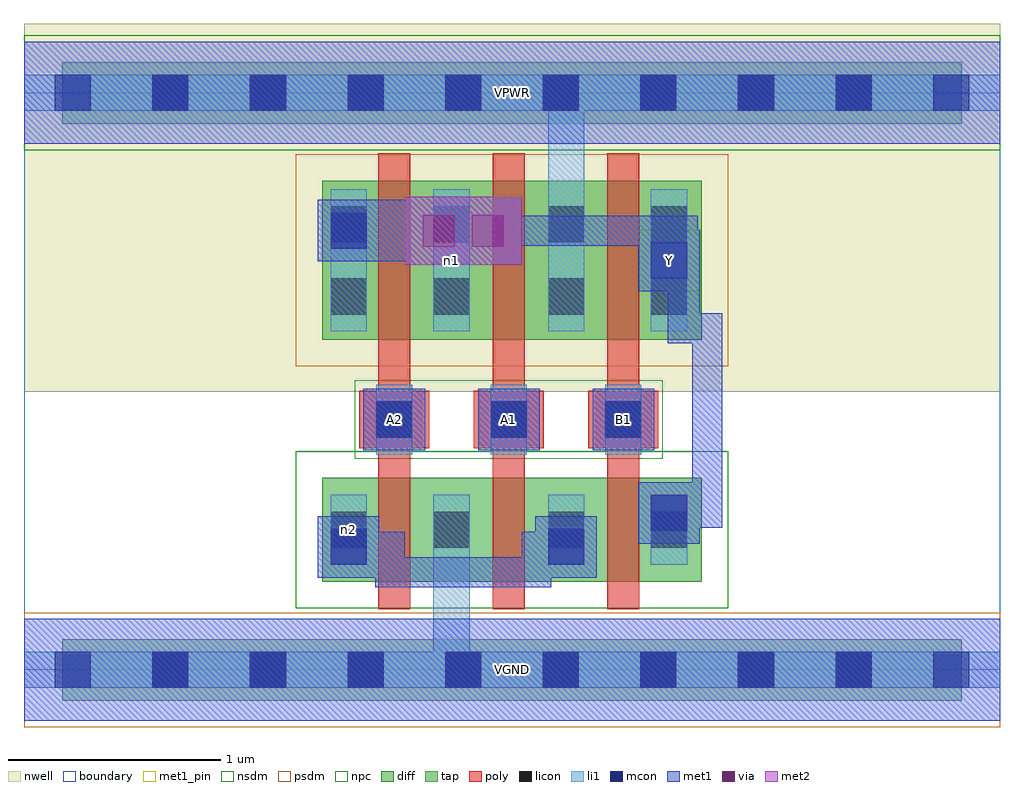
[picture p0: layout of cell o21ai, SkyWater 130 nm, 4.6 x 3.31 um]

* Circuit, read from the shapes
.subckt o21ai A1 A2 B1 VGND VPWR Y n1 n2
XM1 VGND A2 n2 VGND sky130_fd_pr__nfet_01v8 w=0.49 l=0.15
XM2 n2 A1 VGND VGND sky130_fd_pr__nfet_01v8 w=0.49 l=0.15
XM3 Y B1 n2 VGND sky130_fd_pr__nfet_01v8 w=0.49 l=0.15
XM4 n1 A2 Y VPWR sky130_fd_pr__pfet_01v8 w=0.75 l=0.15
XM5 VPWR A1 n1 VPWR sky130_fd_pr__pfet_01v8 w=0.75 l=0.15
XM6 Y B1 VPWR VPWR sky130_fd_pr__pfet_01v8 w=0.75 l=0.15
.ends

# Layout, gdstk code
import gdstk
lib = gdstk.Library(unit=1e-6, precision=1e-09)
def R(c, l, rs):  # rectangles x0, y0, x1, y1
    for r in rs: c.add(gdstk.rectangle(r[:2], r[2:], *l))
def A(c, l, x, y, w, h, nx, ny, dx, dy):  # array of equal rectangles
    R(c, l, [(x+i*dx, y+j*dy, x+i*dx+w, y+j*dy+h) for i in range(nx) for j in range(ny)])
nwell = (64, 20)
diff = (65, 20)
tap = (65, 44)
poly = (66, 20)
licon = (66, 44)
li1 = (67, 20)
mcon = (67, 44)
met1_pin = (68, 16)
met1 = (68, 20)
via = (68, 44)
met2 = (69, 20)
nsdm = (93, 44)
psdm = (94, 20)
npc = (95, 20)
boundary = (235, 4)

o21ai = lib.new_cell('o21ai')
R(o21ai, nwell, [(0,1.31,4.6,3.045)])
R(o21ai, diff, [(1.405,0.415,3.195,0.905), (1.405,1.555,3.195,2.305)])
R(o21ai, tap, [(0.18,-0.145,4.42,0.145), (0.18,2.575,4.42,2.865)])
A(o21ai, poly, 1.67, 0.285, 0.15, 2.15, 3, 1, 0.54, 0)
A(o21ai, poly, 1.58, 1.045, 0.33, 0.27, 3, 1, 0.54, 0)
A(o21ai, licon, 0.605, -0.085, 0.17, 0.17, 8, 2, 0.46, 2.72)
A(o21ai, licon, 1.66, 1.095, 0.17, 0.17, 3, 1, 0.54, 0)
R(o21ai, licon, [(1.445,0.575,1.615,0.745), (1.93,0.575,2.1,0.745), (2.47,0.575,2.64,0.745), (2.955,0.575,3.125,0.745), (1.445,1.675,1.615,1.845), (1.93,1.675,2.1,1.845), (2.47,1.675,2.64,1.845), (2.955,1.675,3.125,1.845), (1.445,2.015,1.615,2.185), (1.93,2.015,2.1,2.185), (2.47,2.015,2.64,2.185), (2.955,2.015,3.125,2.185)])
A(o21ai, li1, 1.66, 1.015, 0.17, 0.33, 3, 1, 0.54, 0)
R(o21ai, li1, [(0,-0.085,4.6,0.085), (1.93,-0.085,2.1,0.825), (1.445,0.495,1.615,0.825), (1.93,0.495,2.1,0.825), (2.47,0.495,2.64,0.825), (2.955,0.495,3.125,0.825), (1.445,1.595,1.615,2.265), (1.93,1.595,2.1,2.265), (2.47,1.595,2.64,2.265), (2.47,1.595,2.64,2.805), (2.955,1.595,3.125,2.265), (0,2.635,4.6,2.805)])
A(o21ai, mcon, 0.145, -0.085, 0.17, 0.17, 10, 2, 0.46, 2.72)
A(o21ai, mcon, 1.66, 1.095, 0.17, 0.17, 3, 1, 0.54, 0)
R(o21ai, mcon, [(1.445,0.495,1.615,0.665), (2.47,0.495,2.64,0.665), (2.955,0.655,3.125,0.825), (2.955,1.845,3.125,2.015), (1.445,1.985,1.615,2.155)])
A(o21ai, met1_pin, 1.6, 1.035, 0.29, 0.29, 3, 1, 0.54, 0)
R(o21ai, met1_pin, [(0,-0.24,4.6,0.24), (2.895,1.785,3.185,2.075), (0,2.48,4.6,2.96)])
A(o21ai, met1, 1.6, 1.035, 0.29, 0.29, 3, 1, 0.54, 0)
R(o21ai, met1, [(0,-0.24,4.6,0.24), (1.655,0.39,1.795,0.65), (1.655,0.39,2.485,0.53), (2.345,0.39,2.485,0.65), (1.385,0.435,1.675,0.725), (2.41,0.435,2.7,0.725), (1.46,0.51,1.795,0.65), (2.345,0.51,2.625,0.65), (2.895,0.595,3.185,0.885), (2.97,0.67,3.29,0.81), (3.15,0.67,3.29,0.99), (3.15,0.85,3.29,1.68), (3.035,1.54,3.175,2.025), (3.035,1.54,3.29,1.68), (3.035,1.68,3.185,1.785), (3.15,1.68,3.185,1.785), (2.895,1.785,3.185,2.075), (3.035,1.885,3.175,2.025), (3.035,1.885,3.175,2.14), (1.795,1.91,2.115,2.23), (2.025,1.91,2.345,2.23), (1.385,1.925,1.675,2.215), (1.675,1.925,1.795,2.215), (1.46,2,1.795,2.14), (1.655,2,2.025,2.14), (2.115,2,3.175,2.14), (0,2.48,4.6,2.96)])
R(o21ai, via, [(1.88,1.995,2.03,2.145), (2.11,1.995,2.26,2.145)])
R(o21ai, met2, [(1.795,1.91,2.115,2.23), (2.025,1.91,2.345,2.23), (1.885,2,2.255,2.14)])
R(o21ai, nsdm, [(1.28,0.29,3.32,1.03), (0,2.45,4.6,2.99)])
R(o21ai, psdm, [(0,-0.27,4.6,0.27), (1.28,1.43,3.32,2.43)])
R(o21ai, npc, [(1.56,0.995,3.01,1.365)])
R(o21ai, boundary, [(0,0,4.6,2.72)])
o21ai.add(gdstk.Label('n2', (1.53,0.66), layer=67, texttype=5))
o21ai.add(gdstk.Label('n1', (2.015,1.93), layer=67, texttype=5))
o21ai.add(gdstk.Label('A1', (2.285,1.18), layer=68, texttype=5))
o21ai.add(gdstk.Label('A2', (1.745,1.18), layer=68, texttype=5))
o21ai.add(gdstk.Label('B1', (2.825,1.18), layer=68, texttype=5))
o21ai.add(gdstk.Label('Y', (3.04,1.93), layer=68, texttype=5))
o21ai.add(gdstk.Label('VPWR', (2.3,2.72), layer=68, texttype=5))
o21ai.add(gdstk.Label('VGND', (2.3,0), layer=68, texttype=5))
o21ai.add(gdstk.Label('A1', (2.285,1.18), layer=68, texttype=16))
o21ai.add(gdstk.Label('A2', (1.745,1.18), layer=68, texttype=16))
o21ai.add(gdstk.Label('B1', (2.825,1.18), layer=68, texttype=16))
o21ai.add(gdstk.Label('Y', (3.04,1.93), layer=68, texttype=16))
o21ai.add(gdstk.Label('VPWR', (2.3,2.72), layer=68, texttype=16))
o21ai.add(gdstk.Label('VGND', (2.3,0), layer=68, texttype=16))

lib.write_gds('o21ai.gds')
